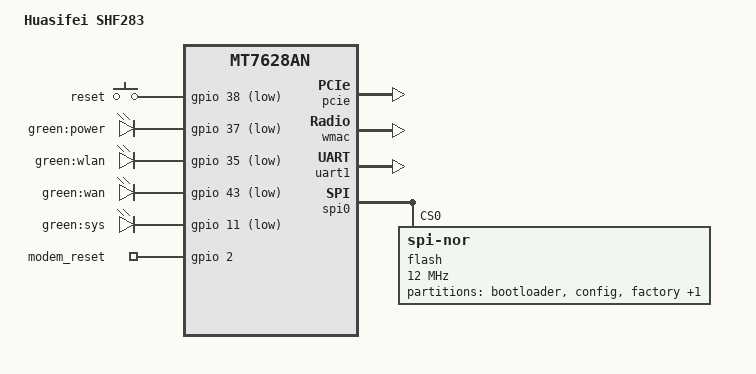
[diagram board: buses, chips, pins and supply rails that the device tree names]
// SPDX-License-Identifier: BSD-3-Clause
/*
 *  Copyright(c) 2017 Kristian Evensen <kristian.evensen@gmail.com>.
 *  Copyright(c) 2017 Piotr Dymacz <pepe2k@gmail.com>.
 *  All rights reserved.
 */

#include "mt7628an.dtsi"

#include <dt-bindings/gpio/gpio.h>
#include <dt-bindings/input/input.h>

/ {
  model = "Huasifei SHF283";
	compatible = "huasifei,shf283", "mediatek,mt7628an-soc";
	
	aliases {
		led-boot = &led_power;
		led-failsafe = &led_power;
		led-running = &led_power;
		led-upgrade = &led_power;
	};

	chosen {
		bootargs = "console=ttyS0,115200";
	};

	keys {
		compatible = "gpio-keys";

		reset {
			label = "reset";
			gpios = <&gpio 38 GPIO_ACTIVE_LOW>;
			linux,code = <KEY_RESTART>;
		};
	};

	leds {
		compatible = "gpio-leds";

		led_power: power {
			label = "green:power";
			gpios = <&gpio 37 GPIO_ACTIVE_LOW>;
		};

		wlan {
			label = "green:wlan";
			gpios = <&gpio 35 GPIO_ACTIVE_LOW>;
		};

		wan {
			label = "green:wan";
			gpios = <&gpio 43 GPIO_ACTIVE_LOW>;
		};

		sys {
			label = "green:sys";
			gpios = <&gpio 11 GPIO_ACTIVE_LOW>;
		};

	};
	
	gpio-export {
		compatible = "gpio-export";
		#size-cells = <0>;

		modem_reset {
			gpio-export,name = "modem_reset";
			gpio-export,output = <0>;
			gpios = <&gpio 2 GPIO_ACTIVE_HIGH>;
		};
	};
};

&pcie {
	status = "okay";
};

&ethernet {
	mtd-mac-address = <&factory 0x28>;
};

&wmac {
	status = "okay";
};

&state_default {
	gpio {
		groups = "i2c";
		function = "gpio";
	};
};

&uart1 {
	status = "okay";
};

&spi0 {
	status = "okay";

	flash@0 {
		compatible = "jedec,spi-nor";
		reg = <0>;
		spi-max-frequency = <12000000>;

		partitions {
			compatible = "fixed-partitions";
			#address-cells = <1>;
			#size-cells = <1>;

			partition@0 {
				label = "bootloader";
				reg = <0x0 0x30000>;
				read-only;
			};

			partition@30000 {
				label = "config";
				reg = <0x30000 0x10000>;
				read-only;
			};

			factory: partition@40000 {
				label = "factory";
				reg = <0x40000 0x10000>;
				read-only;
			};

			partition@50000 {
				compatible = "denx,uimage";
				label = "firmware";
				reg = <0x50000 0xfb0000>;
			};
		};
	};
};
